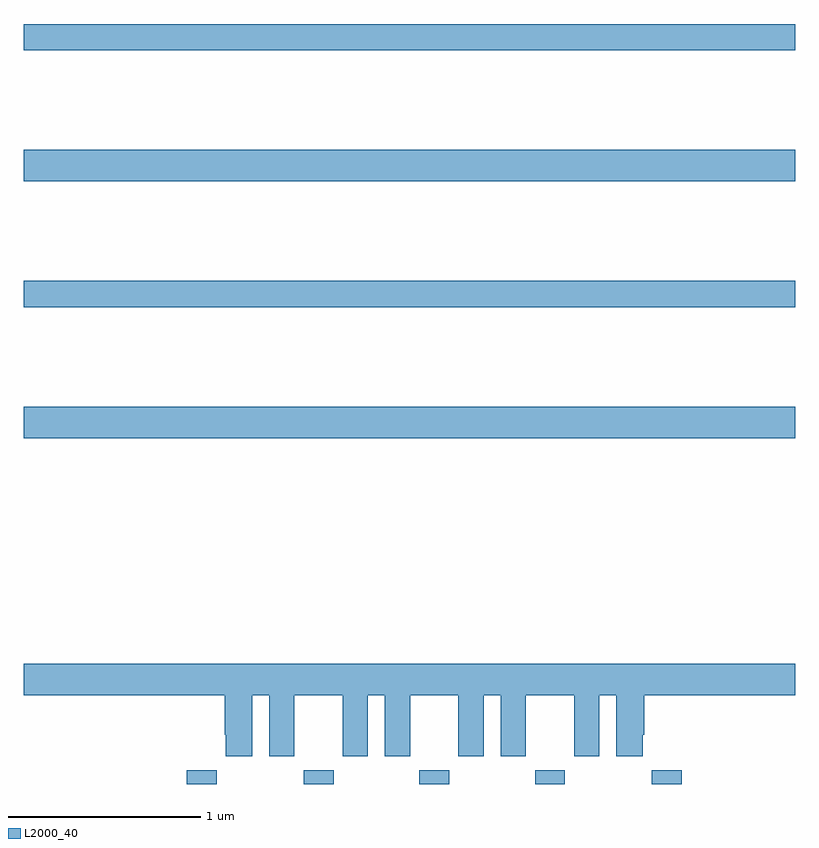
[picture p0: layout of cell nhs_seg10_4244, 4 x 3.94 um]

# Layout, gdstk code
import gdstk
lib = gdstk.Library(unit=1e-6, precision=1e-09)
def R(c, l, rs):  # rectangles x0, y0, x1, y1
    for r in rs: c.add(gdstk.rectangle(r[:2], r[2:], *l))
def A(c, l, x, y, w, h, nx, ny, dx, dy):  # array of equal rectangles
    R(c, l, [(x+i*dx, y+j*dy, x+i*dx+w, y+j*dy+h) for i in range(nx) for j in range(ny)])
def P(c, l, *ps):  # polygons
    for p in ps: c.add(gdstk.Polygon(p, *l))
L2000_40 = (2000, 40)

nhs_seg10_4244 = lib.new_cell('nhs_seg10_4244')
A(nhs_seg10_4244, L2000_40, 348.451, 1322.5, 0.155, 0.072, 3, 1, 0.6, 0)
R(nhs_seg10_4244, L2000_40, [(347.846,1322.5,348.001,1322.572), (350.255,1322.5,350.411,1322.572), (347,1324.292,351,1324.456), (347,1324.972,351,1325.108), (347,1325.624,351,1325.788), (347,1326.304,351,1326.44)])
P(nhs_seg10_4244, L2000_40, [(347,1322.96),(348.041,1322.96),(348.041,1322.755),(348.047,1322.755),(348.047,1322.643),(348.184,1322.643),(348.184,1322.96),(348.272,1322.96),(348.272,1322.643),(348.403,1322.643),(348.403,1322.96),(348.653,1322.96),(348.653,1322.643),(348.784,1322.643),(348.784,1322.96),(348.872,1322.96),(348.872,1322.643),(349.003,1322.643),(349.003,1322.96),(349.253,1322.96),(349.253,1322.643),(349.384,1322.643),(349.384,1322.96),(349.472,1322.96),(349.472,1322.643),(349.603,1322.643),(349.603,1322.96),(349.853,1322.96),(349.853,1322.643),(349.984,1322.643),(349.984,1322.96),(350.072,1322.96),(350.072,1322.643),(350.209,1322.643),(350.209,1322.755),(350.216,1322.755),(350.216,1322.96),(351,1322.96),(351,1323.124),(347,1323.124)])

lib.write_gds('nhs_seg10_4244.gds')
